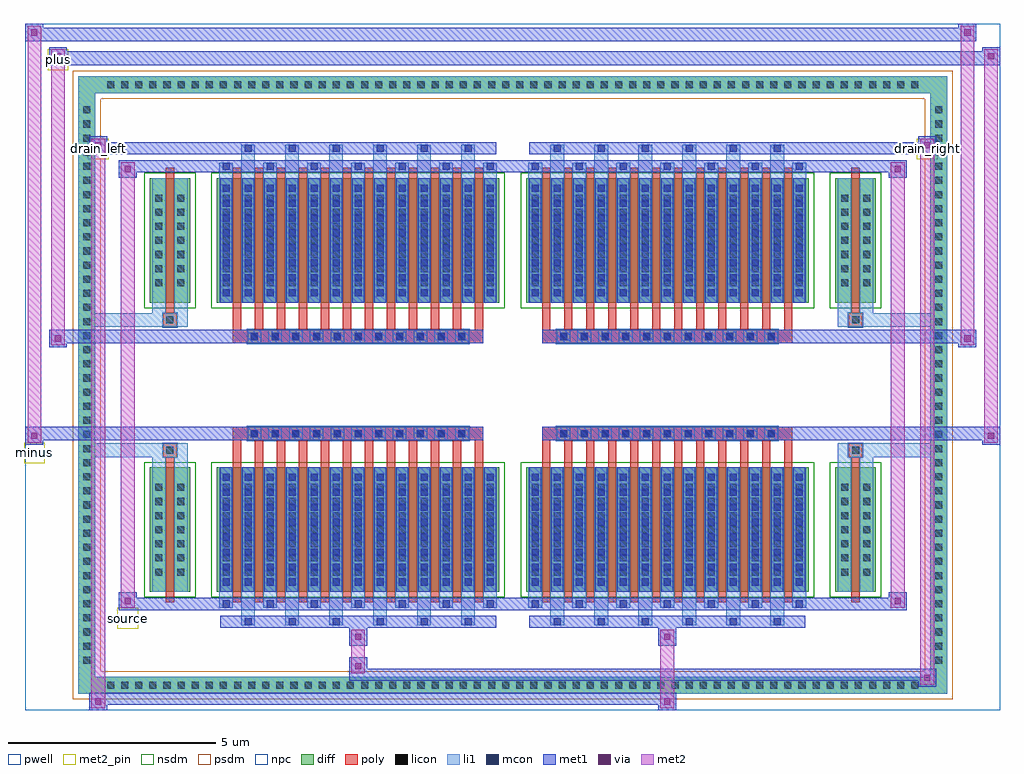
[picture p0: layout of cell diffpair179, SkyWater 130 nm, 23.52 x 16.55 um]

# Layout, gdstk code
import gdstk
lib = gdstk.Library(unit=1e-6, precision=5e-09)
def R(c, l, rs):  # rectangles x0, y0, x1, y1
    for r in rs: c.add(gdstk.rectangle(r[:2], r[2:], *l))
def A(c, l, x, y, w, h, nx, ny, dx, dy):  # array of equal rectangles
    R(c, l, [(x+i*dx, y+j*dy, x+i*dx+w, y+j*dy+h) for i in range(nx) for j in range(ny)])
def P(c, l, *ps):  # polygons
    for p in ps: c.add(gdstk.Polygon(p, *l))
pwell = (64, 44)
diff = (65, 20)
poly = (66, 20)
licon = (66, 44)
li1 = (67, 20)
mcon = (67, 44)
met1 = (68, 20)
via = (68, 44)
met2_pin = (69, 16)
met2 = (69, 20)
nsdm = (93, 44)
psdm = (94, 20)
npc = (95, 20)

diffpair179 = lib.new_cell('diffpair179')
R(diffpair179, pwell, [(-11.74,-7.84,11.74,8.71), (-9.06,-6.03,-0.01,-0.805), (0.01,-6.03,9.06,-0.805), (-9.06,0.805,-0.01,6.03), (0.01,0.805,9.06,6.03)])
A(diffpair179, diff, -9.895, -7.44, 0.41, 0.41, 58, 2, 0.34, 14.47)
A(diffpair179, diff, -10.47, -6.835, 0.41, 0.41, 1, 40, 0, 0.34)
A(diffpair179, diff, 10.06, -6.835, 0.41, 0.41, 1, 40, 0, 0.34)
R(diffpair179, diff, [(-9.895,-7.44,9.895,-7.03), (-10.47,-6.835,-10.06,6.835), (10.06,-6.835,10.47,6.835), (-8.75,-4.985,-7.77,-1.985), (-7.13,-4.985,-0.32,-1.985), (0.32,-4.985,7.13,-1.985), (7.77,-4.985,8.75,-1.985), (-8.75,1.985,-7.77,4.985), (-7.13,1.985,-0.32,4.985), (0.32,1.985,7.13,4.985), (7.77,1.985,8.75,4.985), (-9.895,7.03,9.895,7.44)])
P(diffpair179, diff, [(10.47,7.44),(-10.47,7.44),(-10.47,-7.03),(-10.06,-7.03),(-10.06,7.03),(10.06,7.03),(10.06,-7.03),(-10.06,-7.03),(-10.47,-7.03),(-10.47,-7.44),(10.47,-7.44)])
A(diffpair179, poly, -6.74, -5.235, 0.2, 3.5, 12, 2, 0.53, 6.97)
A(diffpair179, poly, 0.71, -5.235, 0.2, 3.5, 12, 2, 0.53, 6.97)
A(diffpair179, poly, -6.74, -1.735, 0.2, 0.4, 12, 2, 0.53, 3.07)
A(diffpair179, poly, 0.71, -1.735, 0.2, 0.4, 12, 2, 0.53, 3.07)
A(diffpair179, poly, -6.39, -1.335, 0.33, 0.33, 11, 2, 0.5, 2.34)
A(diffpair179, poly, 1.06, -1.335, 0.33, 0.33, 11, 2, 0.5, 2.34)
R(diffpair179, poly, [(-8.36,-5.235,-8.16,-1.735), (8.16,-5.235,8.36,-1.735), (-8.425,-1.735,-8.095,-1.405), (-8.425,-1.735,-8.095,-1.405), (8.095,-1.735,8.425,-1.405), (8.095,-1.735,8.425,-1.405), (-6.74,-1.335,-0.71,-1.005), (0.71,-1.335,6.74,-1.005), (-6.74,1.005,-0.71,1.335), (0.71,1.005,6.74,1.335), (-8.425,1.405,-8.095,1.735), (-8.425,1.405,-8.095,1.735), (8.095,1.405,8.425,1.735), (8.095,1.405,8.425,1.735), (-8.36,1.735,-8.16,5.235), (8.16,1.735,8.36,5.235)])
A(diffpair179, licon, -9.775, -7.32, 0.17, 0.17, 58, 2, 0.34, 14.47)
A(diffpair179, licon, -10.35, -6.715, 0.17, 0.17, 1, 40, 0, 0.34)
A(diffpair179, licon, 10.18, -6.715, 0.17, 0.17, 1, 40, 0, 0.34)
A(diffpair179, licon, -8.61, -4.59, 0.17, 0.17, 1, 7, 0, 0.34)
A(diffpair179, licon, -8.08, -4.59, 0.17, 0.17, 1, 7, 0, 0.34)
A(diffpair179, licon, -6.99, -4.59, 0.17, 0.17, 13, 7, 0.53, 0.34)
A(diffpair179, licon, 0.46, -4.59, 0.17, 0.17, 13, 7, 0.53, 0.34)
A(diffpair179, licon, 7.91, -4.59, 0.17, 0.17, 1, 7, 0, 0.34)
A(diffpair179, licon, 8.44, -4.59, 0.17, 0.17, 1, 7, 0, 0.34)
A(diffpair179, licon, -6.31, -1.255, 0.17, 0.17, 11, 2, 0.5, 2.34)
A(diffpair179, licon, 1.14, -1.255, 0.17, 0.17, 11, 2, 0.5, 2.34)
A(diffpair179, licon, -8.61, 2.38, 0.17, 0.17, 1, 7, 0, 0.34)
A(diffpair179, licon, -8.08, 2.38, 0.17, 0.17, 1, 7, 0, 0.34)
A(diffpair179, licon, -6.99, 2.38, 0.17, 0.17, 13, 7, 0.53, 0.34)
A(diffpair179, licon, 0.46, 2.38, 0.17, 0.17, 13, 7, 0.53, 0.34)
A(diffpair179, licon, 7.91, 2.38, 0.17, 0.17, 1, 7, 0, 0.34)
A(diffpair179, licon, 8.44, 2.38, 0.17, 0.17, 1, 7, 0, 0.34)
R(diffpair179, licon, [(-8.345,-1.655,-8.175,-1.485), (8.175,-1.655,8.345,-1.485), (-8.345,1.485,-8.175,1.655), (8.175,1.485,8.345,1.655)])
A(diffpair179, li1, -9.855, -7.4, 0.33, 0.33, 58, 2, 0.34, 14.47)
A(diffpair179, li1, -10.43, -6.795, 0.33, 0.33, 1, 40, 0, 0.34)
A(diffpair179, li1, 10.1, -6.795, 0.33, 0.33, 1, 40, 0, 0.34)
A(diffpair179, li1, -6.54, -5.79, 0.33, 0.805, 6, 2, 1.06, 10.775)
A(diffpair179, li1, -6.46, -5.79, 0.17, 0.17, 6, 2, 1.06, 11.41)
A(diffpair179, li1, 0.91, -5.79, 0.33, 0.805, 6, 2, 1.06, 10.775)
A(diffpair179, li1, 0.99, -5.79, 0.17, 0.17, 6, 2, 1.06, 11.41)
A(diffpair179, li1, -7.07, -5.36, 0.33, 0.375, 7, 2, 1.06, 10.345)
A(diffpair179, li1, -6.99, -5.36, 0.17, 0.17, 7, 2, 1.06, 10.55)
A(diffpair179, li1, 0.38, -5.36, 0.33, 0.375, 7, 2, 1.06, 10.345)
A(diffpair179, li1, 0.46, -5.36, 0.17, 0.17, 7, 2, 1.06, 10.55)
A(diffpair179, li1, -7.07, -4.985, 0.33, 3, 13, 2, 0.53, 6.97)
A(diffpair179, li1, 0.38, -4.985, 0.33, 3, 13, 2, 0.53, 6.97)
A(diffpair179, li1, -6.99, -4.83, 0.17, 0.17, 13, 8, 0.53, 0.36)
A(diffpair179, li1, -6.99, -4.83, 0.17, 2.69, 13, 2, 0.53, 6.97)
A(diffpair179, li1, 0.46, -4.83, 0.17, 0.17, 13, 8, 0.53, 0.36)
A(diffpair179, li1, 0.46, -4.83, 0.17, 2.69, 13, 2, 0.53, 6.97)
A(diffpair179, li1, -8.69, -4.67, 0.33, 0.33, 1, 7, 0, 0.34)
A(diffpair179, li1, -8.16, -4.67, 0.33, 0.33, 1, 7, 0, 0.34)
A(diffpair179, li1, -7.07, -4.67, 0.33, 0.33, 13, 7, 0.53, 0.34)
A(diffpair179, li1, 0.38, -4.67, 0.33, 0.33, 13, 7, 0.53, 0.34)
A(diffpair179, li1, 7.83, -4.67, 0.33, 0.33, 1, 7, 0, 0.34)
A(diffpair179, li1, 8.36, -4.67, 0.33, 0.33, 1, 7, 0, 0.34)
A(diffpair179, li1, -6.39, -1.335, 0.33, 0.33, 11, 2, 0.5, 2.34)
A(diffpair179, li1, 1.06, -1.335, 0.33, 0.33, 11, 2, 0.5, 2.34)
A(diffpair179, li1, -6.99, 2.14, 0.17, 0.17, 13, 8, 0.53, 0.36)
A(diffpair179, li1, 0.46, 2.14, 0.17, 0.17, 13, 8, 0.53, 0.36)
A(diffpair179, li1, -8.69, 2.3, 0.33, 0.33, 1, 7, 0, 0.34)
A(diffpair179, li1, -8.16, 2.3, 0.33, 0.33, 1, 7, 0, 0.34)
A(diffpair179, li1, -7.07, 2.3, 0.33, 0.33, 13, 7, 0.53, 0.34)
A(diffpair179, li1, 0.38, 2.3, 0.33, 0.33, 13, 7, 0.53, 0.34)
A(diffpair179, li1, 7.83, 2.3, 0.33, 0.33, 1, 7, 0, 0.34)
A(diffpair179, li1, 8.36, 2.3, 0.33, 0.33, 1, 7, 0, 0.34)
R(diffpair179, li1, [(-10.47,-7.44,-10.06,-7.03), (-10.47,-7.44,-10.06,-7.03), (-10.06,-7.44,10.06,-7.03), (10.06,-7.44,10.47,-7.03), (10.06,-7.44,10.47,-7.03), (-10.47,-7.03,-10.06,7.03), (10.06,-7.03,10.47,7.03), (-8.69,-4.985,-8.36,-1.985), (-8.16,-4.985,-7.83,-1.985), (7.83,-4.985,8.16,-1.985), (8.36,-4.985,8.69,-1.985), (-8.69,-1.985,-8.36,-1.405), (-8.16,-1.985,-7.83,-1.405), (7.83,-1.985,8.16,-1.405), (8.36,-1.985,8.69,-1.405), (-10.47,-1.735,-8.425,-1.405), (-8.69,-1.735,-8.425,-1.405), (-8.425,-1.735,-8.095,-1.405), (-8.095,-1.735,-7.83,-1.405), (7.83,-1.735,8.095,-1.405), (8.095,-1.735,8.425,-1.405), (8.095,-1.735,10.47,-1.405), (8.425,-1.735,8.69,-1.405), (-10.47,1.405,-8.425,1.735), (-8.69,1.405,-8.425,1.735), (-8.69,1.405,-8.36,1.985), (-8.425,1.405,-8.095,1.735), (-8.16,1.405,-7.83,1.985), (-8.095,1.405,-7.83,1.735), (7.83,1.405,8.095,1.735), (7.83,1.405,8.16,1.985), (8.095,1.405,8.425,1.735), (8.095,1.405,10.47,1.735), (8.36,1.405,8.69,1.985), (8.425,1.405,8.69,1.735), (-8.69,1.985,-8.36,4.985), (-8.16,1.985,-7.83,4.985), (7.83,1.985,8.16,4.985), (8.36,1.985,8.69,4.985), (-10.47,7.03,-10.06,7.44), (-10.47,7.03,-10.06,7.44), (-10.06,7.03,10.06,7.44), (10.06,7.03,10.47,7.44), (10.06,7.03,10.47,7.44)])
A(diffpair179, mcon, -6.46, -5.79, 0.17, 0.17, 6, 2, 1.06, 11.41)
A(diffpair179, mcon, 0.99, -5.79, 0.17, 0.17, 6, 2, 1.06, 11.41)
A(diffpair179, mcon, -6.99, -5.36, 0.17, 0.17, 7, 2, 1.06, 10.55)
A(diffpair179, mcon, 0.46, -5.36, 0.17, 0.17, 7, 2, 1.06, 10.55)
A(diffpair179, mcon, -6.99, -4.83, 0.17, 0.17, 13, 8, 0.53, 0.36)
A(diffpair179, mcon, 0.46, -4.83, 0.17, 0.17, 13, 8, 0.53, 0.36)
A(diffpair179, mcon, -6.31, -1.255, 0.17, 0.17, 11, 2, 0.5, 2.34)
A(diffpair179, mcon, 1.14, -1.255, 0.17, 0.17, 11, 2, 0.5, 2.34)
A(diffpair179, mcon, -6.99, 2.14, 0.17, 0.17, 13, 8, 0.53, 0.36)
A(diffpair179, mcon, 0.46, 2.14, 0.17, 0.17, 13, 8, 0.53, 0.36)
A(diffpair179, met1, -6.52, -5.85, 0.29, 0.29, 6, 2, 1.06, 11.41)
A(diffpair179, met1, 0.93, -5.85, 0.29, 0.29, 6, 2, 1.06, 11.41)
A(diffpair179, met1, -7.05, -5.42, 0.29, 0.29, 7, 2, 1.06, 10.55)
A(diffpair179, met1, 0.4, -5.42, 0.29, 0.29, 7, 2, 1.06, 10.55)
A(diffpair179, met1, -7.05, -4.985, 0.29, 3, 13, 2, 0.53, 6.97)
A(diffpair179, met1, 0.4, -4.985, 0.29, 3, 13, 2, 0.53, 6.97)
A(diffpair179, met1, -7.05, -4.89, 0.29, 0.29, 13, 8, 0.53, 0.36)
A(diffpair179, met1, 0.4, -4.89, 0.29, 0.29, 13, 8, 0.53, 0.36)
A(diffpair179, met1, -6.37, -1.315, 0.29, 0.29, 11, 2, 0.5, 2.34)
A(diffpair179, met1, 1.08, -1.315, 0.29, 0.29, 11, 2, 0.5, 2.34)
A(diffpair179, met1, -7.05, 2.08, 0.29, 0.29, 13, 8, 0.53, 0.36)
A(diffpair179, met1, 0.4, 2.08, 0.29, 0.29, 13, 8, 0.53, 0.36)
R(diffpair179, met1, [(-10.2,-7.84,-9.77,-7.41), (3.51,-7.84,3.94,-7.41), (-10.2,-7.7,3.94,-7.41), (9.77,-7.27,10.2,-6.84), (-3.94,-7.13,10.2,-6.84), (-3.94,-6.99,-3.51,-6.56), (-3.94,-6.28,-3.51,-5.85), (3.51,-6.28,3.94,-5.85), (-7.05,-5.85,-0.4,-5.56), (0.4,-5.85,7.05,-5.56), (-9.49,-5.42,-9.06,-4.99), (-9.49,-5.42,-7.05,-5.13), (-7.05,-5.42,-0.4,-5.13), (-0.4,-5.42,0.4,-5.13), (0.4,-5.42,7.05,-5.13), (7.05,-5.42,9.49,-5.13), (9.06,-5.42,9.49,-4.99), (-11.74,-1.435,-11.31,-1.005), (11.31,-1.435,11.74,-1.005), (-11.74,-1.335,-0.71,-1.005), (-6.74,-1.335,-0.71,-1.005), (0.71,-1.335,6.74,-1.005), (0.71,-1.335,11.74,-1.005), (-11.17,0.905,-10.74,1.335), (10.74,0.905,11.17,1.335), (-11.17,1.005,-6.74,1.335), (-6.74,1.005,-0.71,1.335), (0.71,1.005,6.74,1.335), (6.74,1.005,11.17,1.335), (-9.49,4.99,-9.06,5.42), (9.06,4.99,9.49,5.42), (-9.49,5.13,-7.05,5.42), (-7.05,5.13,-0.4,5.42), (-0.4,5.13,0.4,5.42), (0.4,5.13,7.05,5.42), (7.05,5.13,9.49,5.42), (-10.2,5.56,-9.77,5.99), (-10.2,5.56,-7.05,5.85), (-7.05,5.56,-0.4,5.85), (0.4,5.56,7.05,5.85), (7.05,5.56,10.2,5.85), (9.77,5.56,10.2,5.99), (-11.17,7.71,-10.74,8.14), (-11.17,7.71,-9.06,8.04), (-9.06,7.71,9.06,8.04), (9.06,7.71,11.74,8.04), (11.31,7.71,11.74,8.14), (-11.74,8.28,-11.31,8.71), (-11.74,8.28,-9.06,8.61), (-9.06,8.28,9.06,8.61), (9.06,8.28,11.17,8.61), (10.74,8.28,11.17,8.71)])
R(diffpair179, via, [(-10.06,-7.7,-9.91,-7.55), (3.65,-7.7,3.8,-7.55), (9.91,-7.13,10.06,-6.98), (-3.8,-6.85,-3.65,-6.7), (-3.8,-6.14,-3.65,-5.99), (3.65,-6.14,3.8,-5.99), (-9.35,-5.28,-9.2,-5.13), (9.2,-5.28,9.35,-5.13), (-11.6,-1.295,-11.45,-1.145), (11.45,-1.295,11.6,-1.145), (-11.03,1.045,-10.88,1.195), (10.88,1.045,11.03,1.195), (-9.35,5.13,-9.2,5.28), (9.2,5.13,9.35,5.28), (-10.06,5.7,-9.91,5.85), (9.91,5.7,10.06,5.85), (-11.03,7.85,-10.88,8), (11.45,7.85,11.6,8), (-11.6,8.42,-11.45,8.57), (10.88,8.42,11.03,8.57)])
R(diffpair179, met2_pin, [(-9.525,-5.87,-9.025,-5.37), (-11.775,-1.885,-11.275,-1.385), (-10.235,5.44,-9.735,5.94), (9.735,5.44,10.235,5.94), (-11.205,7.59,-10.705,8.09)])
R(diffpair179, met2, [(-10.15,-7.79,-9.82,-7.46), (-10.15,-7.79,-9.82,5.94), (3.56,-7.79,3.89,-7.46), (3.56,-7.46,3.89,-6.23), (9.82,-7.22,10.15,-6.89), (9.82,-7.22,10.15,5.94), (-3.89,-6.94,-3.56,-6.61), (-3.89,-6.61,-3.56,-6.23), (-3.89,-6.23,-3.56,-5.9), (3.56,-6.23,3.89,-5.9), (-9.44,-5.37,-9.11,-5.04), (-9.44,-5.37,-9.11,5.37), (9.11,-5.37,9.44,-5.04), (9.11,-5.37,9.44,5.37), (-11.69,-1.385,-11.36,-1.055), (-11.69,-1.385,-11.36,8.66), (11.36,-1.385,11.69,-1.055), (11.36,-1.385,11.69,8.09), (-11.12,0.955,-10.79,1.285), (-11.12,0.955,-10.79,8.09), (10.79,0.955,11.12,1.285), (10.79,0.955,11.12,8.66), (-9.44,5.04,-9.11,5.37), (9.11,5.04,9.44,5.37), (-10.15,5.61,-9.82,5.94), (9.82,5.61,10.15,5.94), (-11.12,7.76,-10.79,8.09), (11.36,7.76,11.69,8.09), (-11.69,8.33,-11.36,8.66), (10.79,8.33,11.12,8.66)])
P(diffpair179, met2, [(11.69,-1.385),(11.69,-1.385),(11.69,-1.055),(11.69,-1.055)],
  [(11.69,7.76),(11.69,7.76),(11.69,8.09),(11.69,8.09)],
  [(-11.36,-1.385),(-11.36,-1.385),(-11.36,-1.055),(-11.36,-1.055)],
  [(-11.36,8.33),(-11.36,8.33),(-11.36,8.66),(-11.36,8.66)],
  [(11.12,0.955),(11.12,0.955),(11.12,1.285),(11.12,1.285)],
  [(11.12,8.33),(11.12,8.33),(11.12,8.66),(11.12,8.66)],
  [(-10.79,0.955),(-10.79,0.955),(-10.79,1.285),(-10.79,1.285)],
  [(-10.79,7.76),(-10.79,7.76),(-10.79,8.09),(-10.79,8.09)],
  [(-9.82,-7.79),(-9.82,-7.79),(-9.82,-7.46),(-9.82,-7.46)],
  [(-9.82,5.61),(-9.82,5.61),(-9.82,5.94),(-9.82,5.94)],
  [(10.15,-7.22),(10.15,-7.22),(10.15,-6.89),(10.15,-6.89)],
  [(10.15,5.61),(10.15,5.61),(10.15,5.94),(10.15,5.94)],
  [(-9.11,-5.37),(-9.11,-5.37),(-9.11,-5.04),(-9.11,-5.04)],
  [(-9.11,5.04),(-9.11,5.04),(-9.11,5.37),(-9.11,5.37)],
  [(9.44,-5.37),(9.44,-5.37),(9.44,-5.04),(9.44,-5.04)],
  [(9.44,5.04),(9.44,5.04),(9.44,5.37),(9.44,5.37)])
R(diffpair179, nsdm, [(-8.88,-5.115,-7.64,-1.855), (-7.26,-5.115,-0.19,-1.855), (0.19,-5.115,7.26,-1.855), (7.64,-5.115,8.88,-1.855), (-8.88,1.855,-7.64,5.115), (-7.26,1.855,-0.19,5.115), (0.19,1.855,7.26,5.115), (7.64,1.855,8.88,5.115)])
P(diffpair179, psdm, [(10.6,7.57),(-10.6,7.57),(-10.6,-6.9),(-9.93,-6.9),(-9.93,6.9),(9.93,6.9),(9.93,-6.9),(-9.93,-6.9),(-10.6,-6.9),(-10.6,-7.57),(10.6,-7.57)])
A(diffpair179, npc, -6.41, -1.355, 0.37, 0.37, 11, 2, 0.5, 2.34)
A(diffpair179, npc, 1.04, -1.355, 0.37, 0.37, 11, 2, 0.5, 2.34)
R(diffpair179, npc, [(-8.445,-1.755,-8.075,-1.385), (8.075,-1.755,8.445,-1.385), (-6.41,-1.355,-5.54,-0.985), (-6.41,-1.355,-5.54,-0.985), (-5.91,-1.355,-5.04,-0.985), (-5.91,-1.355,-5.04,-0.985), (-5.41,-1.355,-4.54,-0.985), (-5.41,-1.355,-4.54,-0.985), (-4.91,-1.355,-4.04,-0.985), (-4.91,-1.355,-4.04,-0.985), (-4.41,-1.355,-3.54,-0.985), (-4.41,-1.355,-3.54,-0.985), (-3.91,-1.355,-3.04,-0.985), (-3.91,-1.355,-3.04,-0.985), (-3.41,-1.355,-2.54,-0.985), (-3.41,-1.355,-2.54,-0.985), (-2.91,-1.355,-2.04,-0.985), (-2.91,-1.355,-2.04,-0.985), (-2.41,-1.355,-1.54,-0.985), (-2.41,-1.355,-1.54,-0.985), (-1.91,-1.355,-1.04,-0.985), (-1.91,-1.355,-1.04,-0.985), (1.04,-1.355,1.91,-0.985), (1.04,-1.355,1.91,-0.985), (1.54,-1.355,2.41,-0.985), (1.54,-1.355,2.41,-0.985), (2.04,-1.355,2.91,-0.985), (2.04,-1.355,2.91,-0.985), (2.54,-1.355,3.41,-0.985), (2.54,-1.355,3.41,-0.985), (3.04,-1.355,3.91,-0.985), (3.04,-1.355,3.91,-0.985), (3.54,-1.355,4.41,-0.985), (3.54,-1.355,4.41,-0.985), (4.04,-1.355,4.91,-0.985), (4.04,-1.355,4.91,-0.985), (4.54,-1.355,5.41,-0.985), (4.54,-1.355,5.41,-0.985), (5.04,-1.355,5.91,-0.985), (5.04,-1.355,5.91,-0.985), (5.54,-1.355,6.41,-0.985), (5.54,-1.355,6.41,-0.985), (-6.41,0.985,-5.54,1.355), (-6.41,0.985,-5.54,1.355), (-5.91,0.985,-5.04,1.355), (-5.91,0.985,-5.04,1.355), (-5.41,0.985,-4.54,1.355), (-5.41,0.985,-4.54,1.355), (-4.91,0.985,-4.04,1.355), (-4.91,0.985,-4.04,1.355), (-4.41,0.985,-3.54,1.355), (-4.41,0.985,-3.54,1.355), (-3.91,0.985,-3.04,1.355), (-3.91,0.985,-3.04,1.355), (-3.41,0.985,-2.54,1.355), (-3.41,0.985,-2.54,1.355), (-2.91,0.985,-2.04,1.355), (-2.91,0.985,-2.04,1.355), (-2.41,0.985,-1.54,1.355), (-2.41,0.985,-1.54,1.355), (-1.91,0.985,-1.04,1.355), (-1.91,0.985,-1.04,1.355), (1.04,0.985,1.91,1.355), (1.04,0.985,1.91,1.355), (1.54,0.985,2.41,1.355), (1.54,0.985,2.41,1.355), (2.04,0.985,2.91,1.355), (2.04,0.985,2.91,1.355), (2.54,0.985,3.41,1.355), (2.54,0.985,3.41,1.355), (3.04,0.985,3.91,1.355), (3.04,0.985,3.91,1.355), (3.54,0.985,4.41,1.355), (3.54,0.985,4.41,1.355), (4.04,0.985,4.91,1.355), (4.04,0.985,4.91,1.355), (4.54,0.985,5.41,1.355), (4.54,0.985,5.41,1.355), (5.04,0.985,5.91,1.355), (5.04,0.985,5.91,1.355), (5.54,0.985,6.41,1.355), (5.54,0.985,6.41,1.355), (-8.445,1.385,-8.075,1.755), (8.075,1.385,8.445,1.755)])
diffpair179.add(gdstk.Label('minus', (-11.525,-1.635), layer=69, texttype=5))
diffpair179.add(gdstk.Label('drain_right', (9.985,5.69), layer=69, texttype=5))
diffpair179.add(gdstk.Label('drain_left', (-9.985,5.69), layer=69, texttype=5))
diffpair179.add(gdstk.Label('source', (-9.275,-5.62), layer=69, texttype=5))
diffpair179.add(gdstk.Label('plus', (-10.955,7.84), layer=69, texttype=5))

lib.write_gds('diffpair179.gds')
